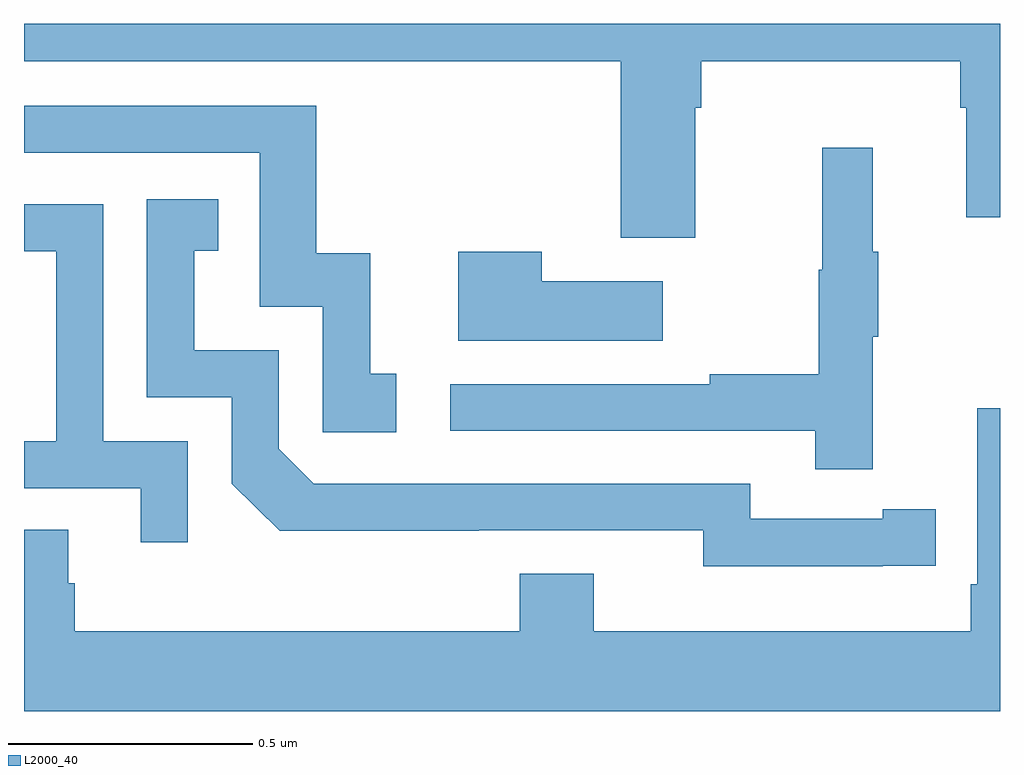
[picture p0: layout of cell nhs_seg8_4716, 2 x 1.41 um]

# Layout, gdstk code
import gdstk
lib = gdstk.Library(unit=1e-6, precision=1e-09)
def P(c, l, *ps):  # polygons
    for p in ps: c.add(gdstk.Polygon(p, *l))
L2000_40 = (2000, 40)

nhs_seg8_4716 = lib.new_cell('nhs_seg8_4716')
P(nhs_seg8_4716, L2000_40, [(175.375,1125.728),(175.388,1125.728),(175.388,1125.824),(175.919,1125.824),(175.919,1125.728),(175.931,1125.728),(175.931,1125.504),(176,1125.504),(176,1125.9),(174,1125.9),(174,1125.824),(175.223,1125.824),(175.223,1125.462),(175.375,1125.462)],
  [(174.763,1125.183),(174.71,1125.183),(174.71,1125.43),(174.599,1125.43),(174.599,1125.732),(174,1125.732),(174,1125.636),(174.483,1125.636),(174.483,1125.321),(174.612,1125.321),(174.612,1125.063),(174.763,1125.063)],
  [(175.739,1125.259),(175.75,1125.259),(175.75,1125.433),(175.739,1125.433),(175.739,1125.646),(175.636,1125.646),(175.636,1125.396),(175.629,1125.396),(175.629,1125.182),(175.405,1125.182),(175.405,1125.162),(174.873,1125.162),(174.873,1125.066),(175.621,1125.066),(175.621,1124.988),(175.739,1124.988)],
  [(175.76,1124.79),(175.868,1124.79),(175.868,1124.906),(175.76,1124.906),(175.76,1124.886),(175.488,1124.886),(175.488,1124.958),(174.594,1124.958),(174.522,1125.03),(174.522,1125.231),(174.349,1125.231),(174.349,1125.435),(174.398,1125.435),(174.398,1125.541),(174.252,1125.541),(174.252,1125.135),(174.426,1125.135),(174.426,1124.958),(174.524,1124.861),(174.932,1124.861),(174.932,1124.862),(175.392,1124.862),(175.392,1124.789),(175.76,1124.789)],
  [(174.336,1125.045),(174.162,1125.045),(174.162,1125.531),(174,1125.531),(174,1125.434),(174.066,1125.434),(174.066,1125.045),(174,1125.045),(174,1124.949),(174.239,1124.949),(174.239,1124.838),(174.336,1124.838)],
  [(175.309,1125.373),(175.061,1125.373),(175.061,1125.433),(174.89,1125.433),(174.89,1125.251),(175.309,1125.251)],
  [(176,1125.112),(175.953,1125.112),(175.953,1124.752),(175.94,1124.752),(175.94,1124.656),(175.168,1124.656),(175.168,1124.773),(175.016,1124.773),(175.016,1124.656),(174.104,1124.656),(174.104,1124.754),(174.091,1124.754),(174.091,1124.864),(174,1124.864),(174,1124.492),(176,1124.492)])

lib.write_gds('nhs_seg8_4716.gds')
